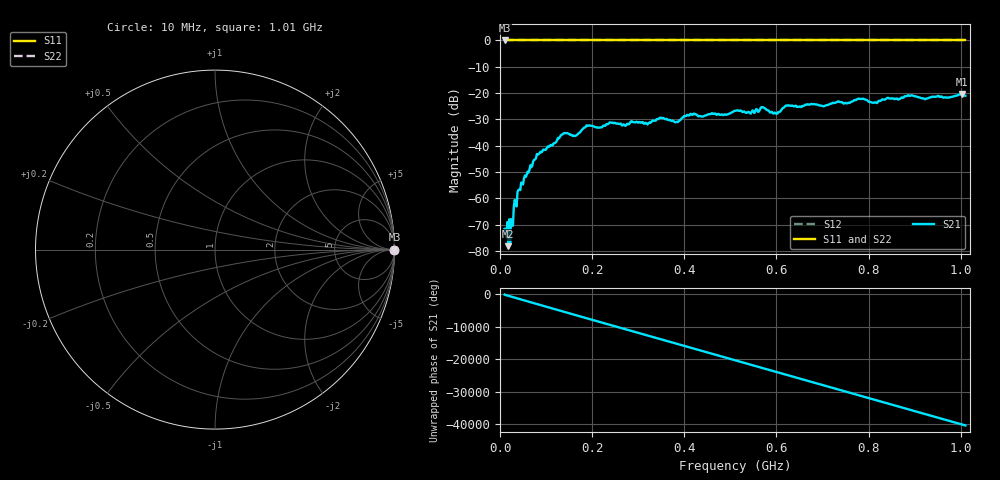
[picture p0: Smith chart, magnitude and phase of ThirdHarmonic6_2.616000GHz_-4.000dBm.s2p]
! 8/17/2025 5:45:22 AM
! C:\ANRITSUVNA\TEMP\TEMP.S2P
! CHANNEL.1
! TR.MEASUREMENT
! RAW.DATA
! RF.CORRECTION.OFF
! AVERAGING.OFF
! IF.BANDWIDTH: 5KHZ
! SWEEPTYPE:  FREQ.SWEEP(Linear)
! Reference Plane Port Info
! PORT:  PORT1  PORT2
! DISTANCE:  0  m  0  m
! TIME:  0  s  0  s
! PHASE.OFFSET:  0  deg.  0  deg.
! LOSS:  0  dB  0  dB
! REF.LOSS:  0  dB  0  dB
! REF.FREQ:  0  Hz  0  Hz
! Power Info
! POWER:  -20  dBm  -20  dBm
! EFF.POWER:  -20  dBm  -20  dBm
! SOURCE.ATTEN:  0  dB  0  dB
! TEST.ATTEN:  0  dB  0  dB
# GHZ S RI R 50.0
! FREQ.GHZ  S11RE  S11IM  S21RE  S21IM  S12RE  S12IM  S22RE  S22IM
!; PortSelection: Port_12
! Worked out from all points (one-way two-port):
!   501 points, 10 MHz to 1.01 GHz, reference 50 ohm
!   highest |S21| = -20.36 dB at 1.002 GHz (marker M1); lowest = -78.2 dB at 18 MHz (marker M2)
!   lowest |S11| = 0.0 dB at 10 MHz (marker M3)
!   |S11| at or under -10 dB: nowhere
!   |S22| runs from 0.0 to 0.0 dB; largest |S21 - S12| = 1.1
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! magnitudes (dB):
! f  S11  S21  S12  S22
! 10 MHz  0.0  -71.6  0.0  0.0
! 18 MHz  0.0  -78.2  0.0  0.0
! 26 MHz  0.0  -68.1  0.0  0.0
! 28 MHz  0.0  -70.5  0.0  0.0
! 42 MHz  0.0  -56.6  0.0  0.0
! 78 MHz  0.0  -44.8  0.0  0.0
! 136 MHz  0.0  -35.6  0.0  0.0
! 162 MHz  0.0  -36.4  0.0  0.0
! 178 MHz  0.0  -33.9  0.0  0.0
! 192 MHz  0.0  -32.4  0.0  0.0
! 344 MHz  0.0  -29.8  0.0  0.0
! 382 MHz  0.0  -31.0  0.0  0.0
! 410 MHz  0.0  -28.6  0.0  0.0
! 510 MHz  0.0  -26.8  0.0  0.0
! 540 MHz  0.0  -27.2  0.0  0.0
! 570 MHz  0.0  -25.4  0.0  0.0
! 598 MHz  0.0  -27.6  0.0  0.0
! 622 MHz  0.0  -24.8  0.0  0.0
! 678 MHz  0.0  -24.3  0.0  0.0
! 844 MHz  0.0  -22.0  0.0  0.0
! 1.002 GHz  0.0  -20.4  0.0  0.0
! 1.01 GHz  0.0  -21.0  0.0  0.0
